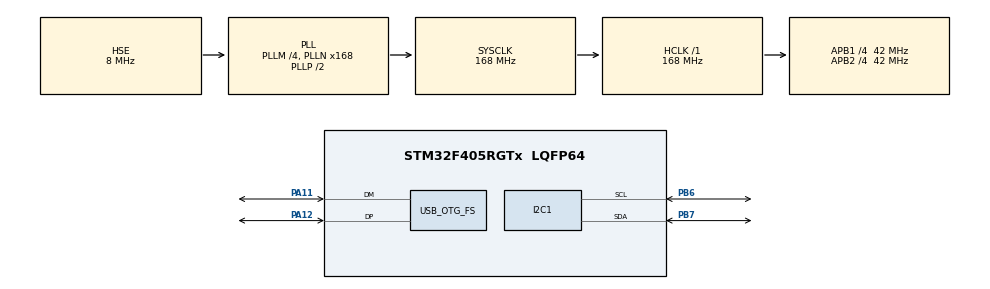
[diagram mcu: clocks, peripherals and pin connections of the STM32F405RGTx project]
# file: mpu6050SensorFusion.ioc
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Dma.I2C1_RX.0.Direction=DMA_PERIPH_TO_MEMORY
Dma.I2C1_RX.0.FIFOMode=DMA_FIFOMODE_DISABLE
Dma.I2C1_RX.0.Instance=DMA1_Stream0
Dma.I2C1_RX.0.MemDataAlignment=DMA_MDATAALIGN_BYTE
Dma.I2C1_RX.0.MemInc=DMA_MINC_ENABLE
Dma.I2C1_RX.0.Mode=DMA_NORMAL
Dma.I2C1_RX.0.PeriphDataAlignment=DMA_PDATAALIGN_BYTE
Dma.I2C1_RX.0.PeriphInc=DMA_PINC_DISABLE
Dma.I2C1_RX.0.Priority=DMA_PRIORITY_MEDIUM
Dma.Request0=I2C1_RX
Mcu.Family=STM32F4
Mcu.Name=STM32F405RGTx
Mcu.Package=LQFP64
NVIC.DMA1_Stream0_IRQn=true\:0\:0\:false\:false\:true\:false\:true\:true
NVIC.OTG_FS_IRQn=true\:0\:0\:false\:false\:true\:false\:true\:true
NVIC.PriorityGroup=NVIC_PRIORITYGROUP_4
PA11.Mode=Device_Only
PA11.Signal=USB_OTG_FS_DM
PA12.Mode=Device_Only
PA12.Signal=USB_OTG_FS_DP
PA13.Mode=Serial_Wire
PA13.Signal=SYS_JTMS-SWDIO
PA14.Mode=Serial_Wire
PA14.Signal=SYS_JTCK-SWCLK
PB6.Mode=I2C
PB6.Signal=I2C1_SCL
PB7.Mode=I2C
PB7.Signal=I2C1_SDA
PH0-OSC_IN.Mode=HSE-External-Oscillator
PH0-OSC_IN.Signal=RCC_OSC_IN
PH1-OSC_OUT.Mode=HSE-External-Oscillator
PH1-OSC_OUT.Signal=RCC_OSC_OUT
ProjectManager.HeapSize=0x200
ProjectManager.StackSize=0x400
ProjectManager.TargetToolchain=STM32CubeIDE
RCC.48MHZClocksFreq_Value=48000000
RCC.AHBFreq_Value=168000000
RCC.APB1CLKDivider=RCC_HCLK_DIV4
RCC.APB1Freq_Value=42000000
RCC.APB1TimFreq_Value=84000000
RCC.APB2CLKDivider=RCC_HCLK_DIV4
RCC.APB2Freq_Value=42000000
RCC.APB2TimFreq_Value=84000000
RCC.CortexFreq_Value=168000000
RCC.HCLKFreq_Value=168000000
RCC.HSE_VALUE=8000000
RCC.HSI_VALUE=16000000
RCC.LSE_VALUE=32768
RCC.PLLM=4
RCC.PLLN=168
RCC.PLLQ=7
RCC.SYSCLKFreq_VALUE=168000000
RCC.SYSCLKSource=RCC_SYSCLKSOURCE_PLLCLK
RCC.VCOOutputFreq_Value=336000000
USB_DEVICE.CLASS_NAME_FS=CDC
USB_DEVICE.VirtualMode-CDC_FS=Cdc
USB_DEVICE.VirtualModeFS=Cdc_FS
USB_OTG_FS.VirtualMode=Device_Only
VP_USB_DEVICE_VS_USB_DEVICE_CDC_FS.Mode=CDC_FS
board=custom

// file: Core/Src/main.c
/* USER CODE BEGIN Header */
/**
  ******************************************************************************
  * @file           : main.c
  * @brief          : Main program body
  ******************************************************************************
  * @attention
  *
  * Copyright (c) 2025 STMicroelectronics.
  * All rights reserved.
  *
  * This software is licensed under terms that can be found in the LICENSE file
  * in the root directory of this software component.
  * If no LICENSE file comes with this software, it is provided AS-IS.
  *
  ******************************************************************************
  */

/* USER CODE END Header */
#include "main.h"
#include "usb_device.h"

/* USER CODE BEGIN Includes */
#include "usbd_cdc_if.h"
#include <string.h>
#include <math.h>

#include "mpu6000.h"
#include "imu_fusion.h"

/* USER CODE END Includes */

/* USER CODE BEGIN PD */
#define SAMPLE_TIME_MS_USB  50

/* USER CODE END PD */

I2C_HandleTypeDef hi2c1;
DMA_HandleTypeDef hdma_i2c1_rx;

/* USER CODE BEGIN PV */

// Declare a persistent buffer for USB transmission
char usb_tx_buffer[150];  // Adjust size if necessary

/* USER CODE END PV */

void SystemClock_Config(void);
static void MX_GPIO_Init(void);
static void MX_DMA_Init(void);
static void MX_I2C1_Init(void);

int main(void)
{

  /* MCU Configuration--------------------------------------------------------*/

  /* Reset of all peripherals, Initializes the Flash interface and the Systick. */
  HAL_Init();

  /* Configure the system clock */
  SystemClock_Config();

  /* Initialize all configured peripherals */
  MX_GPIO_Init();
  MX_DMA_Init();
  MX_I2C1_Init();
  MX_USB_DEVICE_Init();
  /* USER CODE BEGIN 2 */

  mpu6050Config();
  mpu6050Read_DMA();

  imu_fusion_init();

  /* USER CODE END 2 */

  /* Infinite loop */
  /* USER CODE BEGIN WHILE */

  uint32_t timerUSB = 0;

  while (1)
  {
	  /* Log data via USB */
	  if ((HAL_GetTick() - timerUSB) >= SAMPLE_TIME_MS_USB) {

		  float dt = SAMPLE_TIME_MS_USB / 1000.0f;
		  float roll_estimate_deg, pitch_estimate_deg;

		  // Update fusion algorithm with sensor data
		  imu_fusion_update(Gx, Gy, Gz, Ax, Ay, Az, dt,
		                    &roll_estimate_deg, &pitch_estimate_deg);

	      snprintf(usb_tx_buffer, sizeof(usb_tx_buffer),
	               "%.3f, %.3f\r\n",
				   roll_estimate_deg,
				   pitch_estimate_deg);

	      CDC_Transmit_FS((uint8_t*)usb_tx_buffer, strlen(usb_tx_buffer));
	      timerUSB = HAL_GetTick();
	  }

    /* USER CODE END WHILE */

  }
}

void SystemClock_Config(void)
{
  RCC_OscInitTypeDef RCC_OscInitStruct = {0};
  RCC_ClkInitTypeDef RCC_ClkInitStruct = {0};

  /** Configure the main internal regulator output voltage
  */
  __HAL_RCC_PWR_CLK_ENABLE();
  __HAL_PWR_VOLTAGESCALING_CONFIG(PWR_REGULATOR_VOLTAGE_SCALE1);

  /** Initializes the RCC Oscillators according to the specified parameters
  * in the RCC_OscInitTypeDef structure.
  */
  RCC_OscInitStruct.OscillatorType = RCC_OSCILLATORTYPE_HSE;
  RCC_OscInitStruct.HSEState = RCC_HSE_ON;
  RCC_OscInitStruct.PLL.PLLState = RCC_PLL_ON;
  RCC_OscInitStruct.PLL.PLLSource = RCC_PLLSOURCE_HSE;
  RCC_OscInitStruct.PLL.PLLM = 4;
  RCC_OscInitStruct.PLL.PLLN = 168;
  RCC_OscInitStruct.PLL.PLLP = RCC_PLLP_DIV2;
  RCC_OscInitStruct.PLL.PLLQ = 7;
  if (HAL_RCC_OscConfig(&RCC_OscInitStruct) != HAL_OK)
  {
    Error_Handler();
  }

  /** Initializes the CPU, AHB and APB buses clocks
  */
  RCC_ClkInitStruct.ClockType = RCC_CLOCKTYPE_HCLK|RCC_CLOCKTYPE_SYSCLK
                              |RCC_CLOCKTYPE_PCLK1|RCC_CLOCKTYPE_PCLK2;
  RCC_ClkInitStruct.SYSCLKSource = RCC_SYSCLKSOURCE_PLLCLK;
  RCC_ClkInitStruct.AHBCLKDivider = RCC_SYSCLK_DIV1;
  RCC_ClkInitStruct.APB1CLKDivider = RCC_HCLK_DIV4;
  RCC_ClkInitStruct.APB2CLKDivider = RCC_HCLK_DIV4;

  if (HAL_RCC_ClockConfig(&RCC_ClkInitStruct, FLASH_LATENCY_5) != HAL_OK)
  {
    Error_Handler();
  }
}

static void MX_I2C1_Init(void)
{

  hi2c1.Instance = I2C1;
  hi2c1.Init.ClockSpeed = 100000;
  hi2c1.Init.DutyCycle = I2C_DUTYCYCLE_2;
  hi2c1.Init.OwnAddress1 = 0;
  hi2c1.Init.AddressingMode = I2C_ADDRESSINGMODE_7BIT;
  hi2c1.Init.DualAddressMode = I2C_DUALADDRESS_DISABLE;
  hi2c1.Init.OwnAddress2 = 0;
  hi2c1.Init.GeneralCallMode = I2C_GENERALCALL_DISABLE;
  hi2c1.Init.NoStretchMode = I2C_NOSTRETCH_DISABLE;
  if (HAL_I2C_Init(&hi2c1) != HAL_OK)
  {
    Error_Handler();
  }

}

static void MX_DMA_Init(void)
{

  /* DMA controller clock enable */
  __HAL_RCC_DMA1_CLK_ENABLE();

  /* DMA interrupt init */
  /* DMA1_Stream0_IRQn interrupt configuration */
  HAL_NVIC_SetPriority(DMA1_Stream0_IRQn, 0, 0);
  HAL_NVIC_EnableIRQ(DMA1_Stream0_IRQn);

}

static void MX_GPIO_Init(void)
{

  /* GPIO Ports Clock Enable */
  __HAL_RCC_GPIOH_CLK_ENABLE();
  __HAL_RCC_GPIOA_CLK_ENABLE();
  __HAL_RCC_GPIOB_CLK_ENABLE();

}

void Error_Handler(void)
{
  __disable_irq();
  while (1)
  {
  }
}
